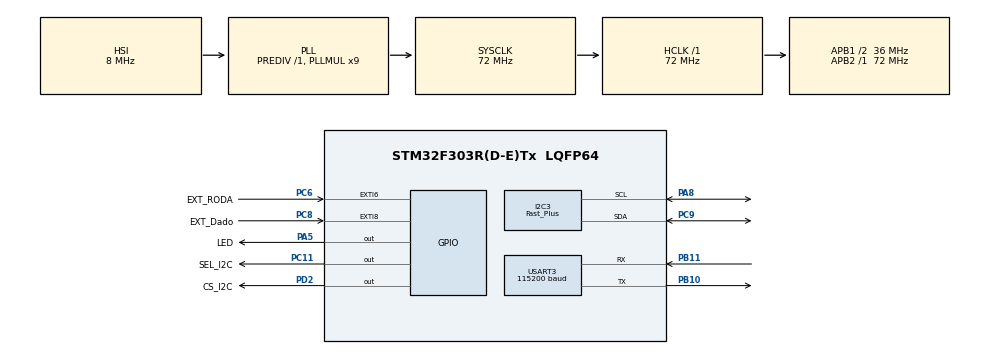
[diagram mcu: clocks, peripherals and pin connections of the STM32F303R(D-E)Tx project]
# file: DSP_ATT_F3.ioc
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Dma.Request0=USART3_RX
Dma.Request1=USART3_TX
Dma.USART3_RX.0.Direction=DMA_PERIPH_TO_MEMORY
Dma.USART3_RX.0.Instance=DMA1_Channel3
Dma.USART3_RX.0.MemDataAlignment=DMA_MDATAALIGN_BYTE
Dma.USART3_RX.0.MemInc=DMA_MINC_ENABLE
Dma.USART3_RX.0.Mode=DMA_NORMAL
Dma.USART3_RX.0.PeriphDataAlignment=DMA_PDATAALIGN_BYTE
Dma.USART3_RX.0.PeriphInc=DMA_PINC_DISABLE
Dma.USART3_RX.0.Priority=DMA_PRIORITY_LOW
Dma.USART3_TX.1.Direction=DMA_MEMORY_TO_PERIPH
Dma.USART3_TX.1.Instance=DMA1_Channel2
Dma.USART3_TX.1.MemDataAlignment=DMA_MDATAALIGN_BYTE
Dma.USART3_TX.1.MemInc=DMA_MINC_ENABLE
Dma.USART3_TX.1.Mode=DMA_NORMAL
Dma.USART3_TX.1.PeriphDataAlignment=DMA_PDATAALIGN_BYTE
Dma.USART3_TX.1.PeriphInc=DMA_PINC_DISABLE
Dma.USART3_TX.1.Priority=DMA_PRIORITY_LOW
I2C3.I2C_Speed_Mode=I2C_Fast_Plus
I2C3.Timing=0x00000001
Mcu.Family=STM32F3
Mcu.Name=STM32F303R(D-E)Tx
Mcu.Package=LQFP64
NVIC.DMA1_Channel2_IRQn=true\:0\:0\:false\:false\:true\:false\:true\:true
NVIC.DMA1_Channel3_IRQn=true\:0\:0\:false\:false\:true\:false\:true\:true
NVIC.PriorityGroup=NVIC_PRIORITYGROUP_4
NVIC.USART3_IRQn=true\:0\:0\:false\:false\:true\:true\:true\:true
PA13.Mode=Serial_Wire
PA13.Signal=SYS_JTMS-SWDIO
PA14.Mode=Serial_Wire
PA14.Signal=SYS_JTCK-SWCLK
PA5.GPIO_Label=LED
PA5.Signal=GPIO_Output
PA8.Mode=I2C
PA8.Signal=I2C3_SCL
PB10.Mode=Asynchronous
PB10.Signal=USART3_TX
PB11.Mode=Asynchronous
PB11.Signal=USART3_RX
PC11.GPIO_Label=SEL_I2C
PC11.GPIO_PuPd=GPIO_NOPULL
PC11.Signal=GPIO_Output
PC6.GPIO_Label=EXT_RODA
PC6.GPIO_ModeDefaultEXTI=GPIO_MODE_IT_RISING_FALLING
PC6.Signal=GPXTI6
PC8.GPIO_Label=EXT_Dado
PC8.GPIO_ModeDefaultEXTI=GPIO_MODE_IT_FALLING
PC8.GPIO_PuPd=GPIO_NOPULL
PC8.Signal=GPXTI8
PC9.Mode=I2C
PC9.Signal=I2C3_SDA
PD2.GPIO_Label=CS_I2C
PD2.Signal=GPIO_Output
PF0-OSC_IN.Mode=HSE-External-Oscillator
PF0-OSC_IN.Signal=RCC_OSC_IN
PF1-OSC_OUT.Mode=HSE-External-Oscillator
PF1-OSC_OUT.Signal=RCC_OSC_OUT
ProjectManager.HeapSize=0x200
ProjectManager.StackSize=0x400
ProjectManager.TargetToolchain=STM32CubeIDE
RCC.AHBFreq_Value=72000000
RCC.APB1CLKDivider=RCC_HCLK_DIV2
RCC.APB1Freq_Value=36000000
RCC.APB1TimFreq_Value=72000000
RCC.APB2Freq_Value=72000000
RCC.APB2TimFreq_Value=72000000
RCC.CortexFreq_Value=72000000
RCC.HCLKFreq_Value=72000000
RCC.HSE_VALUE=8000000
RCC.HSI_VALUE=8000000
RCC.LSE_VALUE=32768
RCC.PLLMUL=RCC_PLL_MUL9
RCC.SYSCLKFreq_VALUE=72000000
RCC.SYSCLKSourceVirtual=RCC_SYSCLKSOURCE_PLLCLK
RCC.USBFreq_Value=72000000
TIM6.Prescaler=72-1
USART3.BaudRate=115200
USART3.DMADisableonRxErrorParam=ADVFEATURE_DMA_DISABLEONRXERROR
USART3.OverSampling=UART_OVERSAMPLING_16
USART3.OverrunDisableParam=ADVFEATURE_OVERRUN_DISABLE
USART3.VirtualMode-Asynchronous=VM_ASYNC
VP_TIM6_VS_ClockSourceINT.Mode=Enable_Timer
board=custom

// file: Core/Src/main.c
/* USER CODE BEGIN Header */
/**
  ******************************************************************************
  * @file           : main.c
  * @brief          : Main program body
  ******************************************************************************
  * @attention
  *
  * Copyright (c) 2023 STMicroelectronics.
  * All rights reserved.
  *
  * This software is licensed under terms that can be found in the LICENSE file
  * in the root directory of this software component.
  * If no LICENSE file comes with this software, it is provided AS-IS.
  *
  ******************************************************************************
  */
/* USER CODE END Header */
#include "main.h"
#include "dma.h"
#include "i2c.h"
#include "tim.h"
#include "usart.h"
#include "gpio.h"

/* USER CODE BEGIN PD */
#define LED(x) HAL_GPIO_WritePin(GPIOA, LED_Pin, x)
#define CS_I2C(x)       HAL_GPIO_WritePin(CS_I2C_GPIO_Port, CS_I2C_Pin, x) // Pino de teste
/* USER CODE END PD */

/* USER CODE BEGIN PM */
UART_HandleTypeDef *huart = &huart3;

/* USER CODE END PM */

/* USER CODE BEGIN PV */
uint8_t page = 1;
int16_t axis[3];
float accX, accY;

uint8_t Buf=0, Buffer[2];
uint8_t erro, i;

#include "Display_J70L.h"
#include <Perfilografo.h>

/* USER CODE END PV */

void SystemClock_Config(void);

/* USER CODE BEGIN 0 */
void DSP_MSG()
{
	if(*PtrByteCount == 0)
		return;

	HAL_Delay(5);	//1 caracter no BaudRate(115200) demora 50Us
	HAL_UART_DMAStop(&huart3);
	memcpy(DSP_Buffer, RXBuffer+3, *PtrByteCount);
	/* ******************************************
	 * Funções portada da antiga DSP_GetCMD()
	 */
	memset(RXBuffer, 0, 4);
	uint16_t VP = Get_VP(PtrDSP_Buffer);
	/******************************************/
//	DSP_GetCMD();
	perfilografo(VP);
	/*Essa é a função personalizada que fiz para esse projeto em especifico.
	*Ela Recebe como parâmetro o VP encontrado na Mensagem(MSG) do Display, toda a lógica funciona em cima disso,
	*os VPs são endereços de memória do Display e podem ser Botões, registradores ou slots de Strings
	*/
}
/* USER CODE END 0 */

int main(void)
{

  /* MCU Configuration--------------------------------------------------------*/

  /* Reset of all peripherals, Initializes the Flash interface and the Systick. */
  HAL_Init();

  /* Configure the system clock */
  SystemClock_Config();

  /* Initialize all configured peripherals */
  MX_GPIO_Init();
  MX_DMA_Init();
  MX_TIM6_Init();
  MX_USART3_UART_Init();
  MX_I2C3_Init();
  /* USER CODE BEGIN 2 */
 HAL_UART_Receive_DMA(huart, RXBuffer, 60);		// Inicia o DMA e é fundamental para o funcionamento
 init_LIS();	//Inicia o acelerometro do meu projeto
  /* USER CODE END 2 */

  /* Infinite loop */
  /* USER CODE BEGIN WHILE */
  while (1)
  {
//	  accX = read_accelX();
//	  accY = read_accelY();
//	  Read_Data(axis);

	  DSP_MSG();		//Fica verificando se recebeu algo do display
	  /*
	  *Deixe sempre essa função executando a todo momento, pode ser dentro de uma interrupção
	  *Construi meu código com lógica de estado de máquina então deixei dentro do looping
	  * É possível utilizar o Callback de TX da Uart, se fizer desta forma me chama para coversarmos
	  * fiquei curioso para ver como seria o código com callback.
	  */
    /* USER CODE END WHILE */

  }
}
/**************************** Só coisas padroes daqui para baixo, tirando o exemplo de callback de Erro na UART que está comentado*/
void SystemClock_Config(void)
{
  RCC_OscInitTypeDef RCC_OscInitStruct = {0};
  RCC_ClkInitTypeDef RCC_ClkInitStruct = {0};
  RCC_PeriphCLKInitTypeDef PeriphClkInit = {0};

  /** Initializes the RCC Oscillators according to the specified parameters
  * in the RCC_OscInitTypeDef structure.
  */
  RCC_OscInitStruct.OscillatorType = RCC_OSCILLATORTYPE_HSI;
  RCC_OscInitStruct.HSIState = RCC_HSI_ON;
  RCC_OscInitStruct.HSICalibrationValue = RCC_HSICALIBRATION_DEFAULT;
  RCC_OscInitStruct.PLL.PLLState = RCC_PLL_ON;
  RCC_OscInitStruct.PLL.PLLSource = RCC_PLLSOURCE_HSI;
  RCC_OscInitStruct.PLL.PLLMUL = RCC_PLL_MUL9;
  RCC_OscInitStruct.PLL.PREDIV = RCC_PREDIV_DIV1;
  if (HAL_RCC_OscConfig(&RCC_OscInitStruct) != HAL_OK)
  {
    Error_Handler();
  }

  /** Initializes the CPU, AHB and APB buses clocks
  */
  RCC_ClkInitStruct.ClockType = RCC_CLOCKTYPE_HCLK|RCC_CLOCKTYPE_SYSCLK
                              |RCC_CLOCKTYPE_PCLK1|RCC_CLOCKTYPE_PCLK2;
  RCC_ClkInitStruct.SYSCLKSource = RCC_SYSCLKSOURCE_PLLCLK;
  RCC_ClkInitStruct.AHBCLKDivider = RCC_SYSCLK_DIV1;
  RCC_ClkInitStruct.APB1CLKDivider = RCC_HCLK_DIV2;
  RCC_ClkInitStruct.APB2CLKDivider = RCC_HCLK_DIV1;

  if (HAL_RCC_ClockConfig(&RCC_ClkInitStruct, FLASH_LATENCY_2) != HAL_OK)
  {
    Error_Handler();
  }
  PeriphClkInit.PeriphClockSelection = RCC_PERIPHCLK_USART3|RCC_PERIPHCLK_I2C3;
  PeriphClkInit.Usart3ClockSelection = RCC_USART3CLKSOURCE_PCLK1;
  PeriphClkInit.I2c3ClockSelection = RCC_I2C3CLKSOURCE_HSI;
  if (HAL_RCCEx_PeriphCLKConfig(&PeriphClkInit) != HAL_OK)
  {
    Error_Handler();
  }
}

/* USER CODE BEGIN 4 */

//void HAL_UART_RxCpltCallback(UART_HandleTypeDef *huart)
//{
//	if(huart == &huart3)
//	{
//	}
//}
//void HAL_UART_ErrorCallback(UART_HandleTypeDef *huart) {
//    if (huart == &huart3) {
//        // Chamado quando ocorre um erro na comunicação UART
//        if (huart->ErrorCode & HAL_UART_ERROR_PE) {
//            // Erro de paridade
//        }
//        if (huart->ErrorCode & HAL_UART_ERROR_NE) {
//            // Erro de frame
//        	while(1);
//        }
//        if (huart->ErrorCode & HAL_UART_ERROR_FE) {
//            // Erro de frame
////        	while(1);
//        	erro++;
//        }
//        if (huart->ErrorCode & HAL_UART_ERROR_ORE) {
//        	HAL_Delay(1000);
//
//        }
//        if (huart->ErrorCode & HAL_UART_ERROR_DMA) {
//            // Erro de DMA
//        }
//        // ... outros erros possíveis ...
//
//        // Você pode tomar medidas apropriadas para lidar com os erros aqui
//    }
//}
/* USER CODE END 4 */

void Error_Handler(void)
{
  __disable_irq();
  while (1)
  {
  }
}
